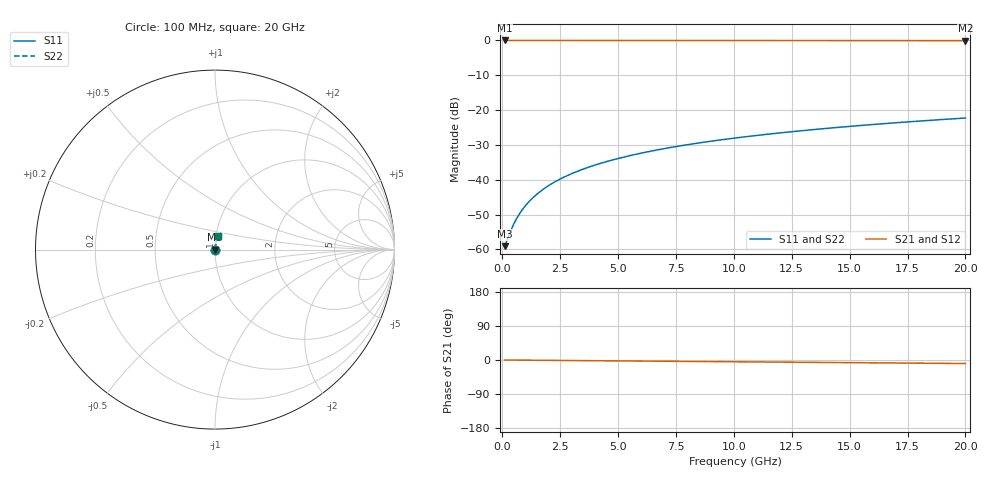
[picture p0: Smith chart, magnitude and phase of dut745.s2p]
! Touchstone file exported from HFSS 2026.1.0
!  File:  C:/ffzhzh/LocalFiles/Ansys_Project_Files/temp_train_TSV_745_1783182895_51560.aedt
!  Generated:  12:36:57 AM Jul  5, 2026
!  Design:  TSV
!  Project:  temp_train_TSV_745_1783182895_51560
! Variables:
!  h_bsmrdl = 2um
!  h_ox = 20um
!  h_rdl = 5um
!  h_sub = 84.68um
!  h_tmrdl = 5um
!  h_tsv = 84.68um
!  h_via = 3um
!  l_bsmrdl = 300um
!  l_sub = 406.2um
!  l_tmrdl = 200um
!  m_sub = 200um
!  pitch = 28.66um
!  r_tsv = 3.1um
!  s_tmrdl = 10um
!  w_bsmrdl = 18um
!  w_sub = 500um
!  w_tmrdl = 12um
!  x_tsv_center1 = 206um
!  x_tsv_center2 = 524um
!  x_tsv_center3 = 736um
!  x_tsv_center4 = 1054um
!  x_tsv_center5 = 1266um
!  x_tsv_center6 = 1584um
# GHz S MA R 50.000000
! Terminal data exported
! Port[1] = TSV1_1_T1
! Port[2] = TSV1_1_T2
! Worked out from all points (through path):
!   200 points, 100 MHz to 20 GHz, reference 50 ohm
!   highest |S21| = -0.01 dB at 100 MHz (marker M1); lowest = -0.1 dB at 20 GHz (marker M2)
!   group delay of S21, straight-line fit = 1.29 ps
!   lowest |S11| = -59.1 dB at 100 MHz (marker M3), VSWR 1.00, Z = 50.1 + j0.0422 ohm
!   |S11| at or under -10 dB: start of sweep to end of sweep
!   |S22| runs from -59.1 to -22.3 dB; largest |S21 - S12| = 3e-15
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0.1  0.001113 22.2  0.999 -0.0  0.999 -0.0  0.001113 22.2
! Gamma 0 0 0 0
! Port Impedance 50 0 50 0
0.4  0.001971 57.3  0.9989 -0.2  0.9989 -0.2  0.001971 57.3
0.5  0.002329 62.4  0.9989 -0.2  0.9989 -0.2  0.002329 62.4
0.6  0.002699 66.2  0.9989 -0.3  0.9989 -0.3  0.002699 66.2
0.7  0.003078 69.0  0.9989 -0.3  0.9989 -0.3  0.003078 69.0
0.9  0.003851 73.0  0.9989 -0.4  0.9989 -0.4  0.003851 73.0
1.1  0.004637 75.6  0.9989 -0.5  0.9989 -0.5  0.004637 75.6
1.3  0.00543 77.4  0.9989 -0.6  0.9989 -0.6  0.00543 77.4
1.7  0.007028 79.7  0.9988 -0.8  0.9988 -0.8  0.007028 79.7
2.2  0.009033 81.3  0.9988 -1.0  0.9988 -1.0  0.009033 81.3
2.8  0.01144 82.3  0.9987 -1.3  0.9987 -1.3  0.01144 82.3
3.5  0.01424 82.8  0.9985 -1.7  0.9985 -1.7  0.01424 82.8
4.2  0.01703 83.1  0.9984 -2.0  0.9984 -2.0  0.01703 83.1
5  0.02019 83.1  0.9982 -2.4  0.9982 -2.4  0.02019 83.1
5.9  0.02372 83.0  0.998 -2.8  0.998 -2.8  0.02372 83.0
6.8  0.02723 82.8  0.9977 -3.2  0.9977 -3.2  0.02723 82.8
8.3  0.03301 82.4  0.9973 -3.9  0.9973 -3.9  0.03301 82.4
10.1  0.03989 81.8  0.9968 -4.7  0.9968 -4.7  0.03989 81.8
11.7  0.04595 81.2  0.9963 -5.5  0.9963 -5.5  0.04595 81.2
13.4  0.05235 80.6  0.9958 -6.3  0.9958 -6.3  0.05235 80.6
16.7  0.06468 79.4  0.9947 -7.8  0.9947 -7.8  0.06468 79.4
20  0.07691 78.1  0.9936 -9.3  0.9936 -9.3  0.07691 78.1
